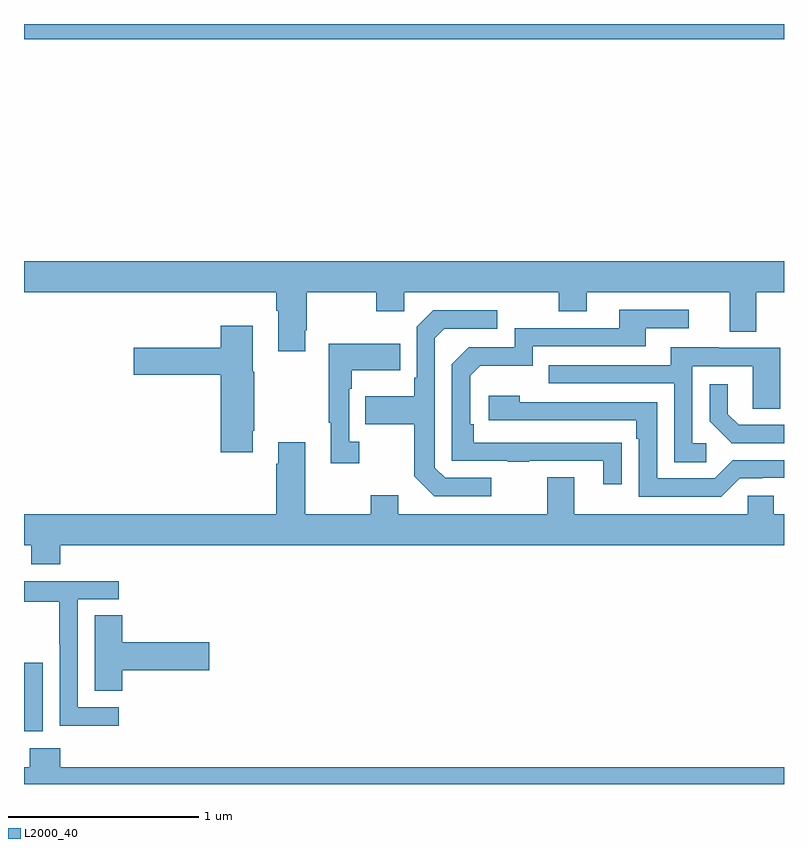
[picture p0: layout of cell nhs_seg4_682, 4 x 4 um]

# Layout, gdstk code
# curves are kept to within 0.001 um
import gdstk
lib = gdstk.Library(unit=1e-6, precision=1e-09)
def R(c, l, rs):  # rectangles x0, y0, x1, y1
    for r in rs: c.add(gdstk.rectangle(r[:2], r[2:], *l))
def P(c, l, *ps):  # polygons
    for p in ps: c.add(gdstk.Polygon(p, *l))
L2000_40 = (2000, 40)

nhs_seg4_682 = lib.new_cell('nhs_seg4_682')
R(nhs_seg4_682, L2000_40, [(145,793.178,145.099,793.539), (145,796.82,149,796.9)])
P(nhs_seg4_682, L2000_40, [(146.479,795.289),(146.487,795.289),(146.487,795.488),(146.854,795.488),(146.854,795.389),(147,795.389),(147,795.488),(147.814,795.488),(147.814,795.389),(147.961,795.389),(147.961,795.488),(148.715,795.488),(148.715,795.28),(148.855,795.28),(148.855,795.488),(149,795.488),(149,795.652),(145,795.652),(145,795.488),(146.327,795.488),(146.327,795.392),(146.339,795.392),(146.339,795.177),(146.479,795.177)],
  [(148.145,794.696),(147.368,794.697),(147.368,794.794),(147.348,794.794),(147.348,795.048),(147.401,795.101),(147.678,795.101),(147.678,795.204),(148.273,795.204),(148.273,795.3),(148.498,795.3),(148.498,795.396),(148.133,795.396),(148.133,795.3),(147.582,795.3),(147.582,795.198),(147.342,795.198),(147.252,795.108),(147.252,794.601),(147.547,794.601),(147.547,794.596),(147.659,794.596),(147.659,794.601),(148.049,794.601),(148.049,794.478),(148.145,794.478)],
  [(147.46,794.511),(147.216,794.511),(147.162,794.565),(147.162,795.246),(147.213,795.297),(147.49,795.297),(147.49,795.393),(147.153,795.393),(147.066,795.306),(147.066,795.037),(147.054,795.037),(147.054,794.941),(146.797,794.941),(146.797,794.794),(147.054,794.794),(147.054,794.521),(147.159,794.415),(147.46,794.415)],
  [(146.203,794.758),(146.211,794.758),(146.211,795.069),(146.203,795.069),(146.203,795.313),(146.036,795.313),(146.036,795.195),(145.578,795.195),(145.578,795.053),(146.036,795.053),(146.036,794.646),(146.203,794.646)],
  [(146.764,794.702),(146.712,794.702),(146.712,794.981),(146.725,794.981),(146.725,795.077),(146.981,795.077),(146.981,795.217),(146.604,795.217),(146.604,794.801),(146.615,794.801),(146.615,794.589),(146.764,794.589)],
  [(148.591,794.694),(148.518,794.694),(148.518,795.099),(148.836,795.099),(148.836,794.875),(148.981,794.875),(148.981,795.195),(148.657,795.195),(148.657,795.199),(148.403,795.199),(148.403,795.105),(147.763,795.105),(147.763,795.009),(148.422,795.009),(148.422,794.593),(148.591,794.593)],
  [(149,794.79),(148.762,794.79),(148.705,794.847),(148.705,795.004),(148.608,795.004),(148.608,794.81),(148.724,794.694),(149,794.694)],
  [(148.767,794.508),(148.886,794.508),(148.886,794.511),(149,794.511),(149,794.604),(148.731,794.604),(148.635,794.508),(148.332,794.508),(148.332,794.91),(147.608,794.91),(147.608,794.944),(147.447,794.944),(147.447,794.814),(148.223,794.814),(148.223,794.717),(148.236,794.717),(148.236,794.412),(148.671,794.412)],
  [(145.19,794.156),(149,794.156),(149,794.32),(148.947,794.32),(148.947,794.418),(148.809,794.418),(148.809,794.32),(147.895,794.32),(147.895,794.515),(147.755,794.515),(147.755,794.32),(146.971,794.32),(146.971,794.419),(146.824,794.419),(146.824,794.32),(146.479,794.32),(146.479,794.698),(146.339,794.698),(146.339,794.585),(146.327,794.585),(146.327,794.32),(145,794.32),(145,794.156),(145.037,794.156),(145.037,794.057),(145.19,794.057)],
  [(145.498,793.305),(145.284,793.305),(145.284,793.872),(145.498,793.872),(145.498,793.968),(145,793.968),(145,793.86),(145.186,793.86),(145.186,793.636),(145.188,793.636),(145.188,793.207),(145.498,793.207)],
  [(145.517,793.499),(145.975,793.499),(145.975,793.646),(145.517,793.646),(145.517,793.787),(145.373,793.787),(145.373,793.39),(145.517,793.39)],
  [(149,792.988),(145.19,792.988),(145.19,793.087),(145.03,793.087),(145.03,792.988),(145,792.988),(145,792.9),(149,792.9)])

lib.write_gds('nhs_seg4_682.gds')
